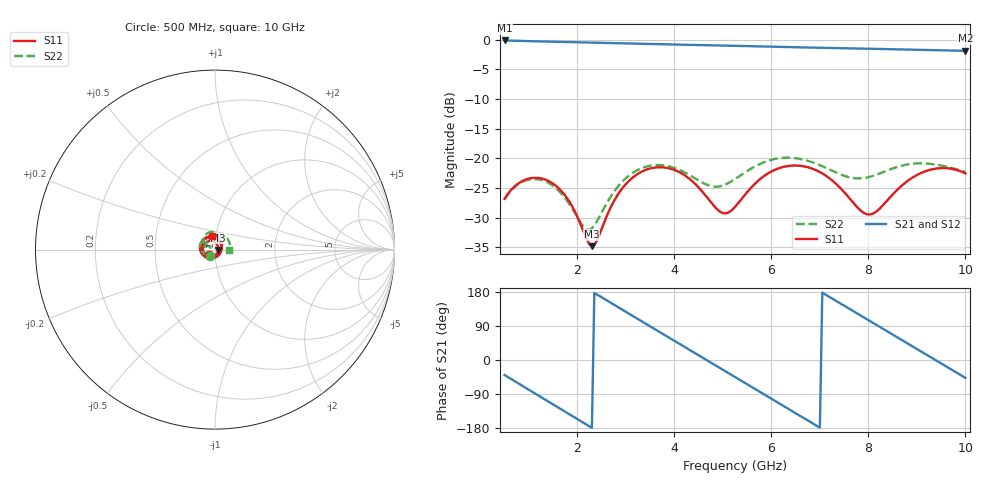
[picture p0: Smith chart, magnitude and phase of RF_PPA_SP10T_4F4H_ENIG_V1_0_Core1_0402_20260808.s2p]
! Touchstone file exported from HFSS 3D Layout Design 2026.1.0
!  File:  D:/Work/ADS/SIMADS_EM_PAR/SP8T/RF-PPA-SP10T-4F4H-ENIG-V1.0.aedt
!  Generated:  02:37:25 PM Aug  8, 2026
!  Design:  RF-PPA-SP10T-4F4H-ENIG-V1.0_Core1
!  Project:  RF-PPA-SP10T-4F4H-ENIG-V1.0
! Variables:
!  BendModel = 0
# GHz S MA R 50.000000
! Terminal data exported
! Port[1] = Port1
! Port[2] = Port2
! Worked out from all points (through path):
!   191 points, 500 MHz to 10 GHz, reference 50 ohm
!   highest |S21| = -0.15 dB at 500 MHz (marker M1); lowest = -1.9 dB at 10 GHz (marker M2)
!   group delay of S21, straight-line fit = 212 ps
!   lowest |S11| = -34.8 dB at 2.3 GHz (marker M3), VSWR 1.04, Z = 51.8 - j0.214 ohm
!   |S11| at or under -10 dB: start of sweep to end of sweep
!   |S22| runs from -32.0 to -19.9 dB; largest |S21 - S12| = 8.1e-14
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0.5  0.04558 -137.2  0.9832 -39.7  0.9832 -39.7  0.0452 -131.1
0.9  0.06538 -173.0  0.9727 -70.8  0.9727 -70.8  0.06421 -160.7
1.25  0.06778 155.6  0.9649 -97.9  0.9649 -97.9  0.06587 176.5
1.65  0.05409 117.0  0.9571 -128.8  0.9571 -128.8  0.05145 155.6
2.1  0.02568 53.8  0.9484 -163.6  0.9484 -163.6  0.02746 161.2
2.3  0.01819 -6.5  0.9442 -179.1  0.9442 -179.1  0.02576 -173.6
2.65  0.03587 -96.5  0.9362 154.0  0.9362 154.0  0.0449 -155.3
3.05  0.06372 -143.9  0.9268 123.3  0.9268 123.3  0.07073 -168.0
3.7  0.08412 155.2  0.9133 73.5  0.9133 73.5  0.08776 159.6
4.5  0.05679 73.3  0.8999 12.3  0.8999 12.3  0.06503 134.6
4.95  0.03532 -2.7  0.8918 -22.2  0.8918 -22.2  0.05823 141.9
5.25  0.03893 -68.1  0.8858 -45.1  0.8858 -45.1  0.06683 145.6
5.65  0.06042 -127.6  0.8774 -75.7  0.8774 -75.7  0.08495 138.3
6  0.07742 -164.4  0.8704 -102.4  0.8704 -102.4  0.09714 125.0
6.45  0.08689 154.5  0.8623 -136.6  0.8623 -136.6  0.1007 104.9
6.85  0.08157 119.0  0.856 -167.1  0.856 -167.1  0.09245 88.4
7.3  0.06267 75.3  0.8493 158.6  0.8493 158.6  0.07705 76.2
7.75  0.03954 15.5  0.8422 124.2  0.8422 124.2  0.06774 73.7
8.05  0.0337 -43.5  0.8369 101.3  0.8369 101.3  0.07022 73.2
8.45  0.04707 -112.6  0.8295 70.8  0.8295 70.8  0.08075 65.3
9.25  0.07956 166.4  0.8158 9.9  0.8158 9.9  0.09003 30.3
10  0.07466 101.7  0.804 -47.1  0.804 -47.1  0.07689 -3.2
